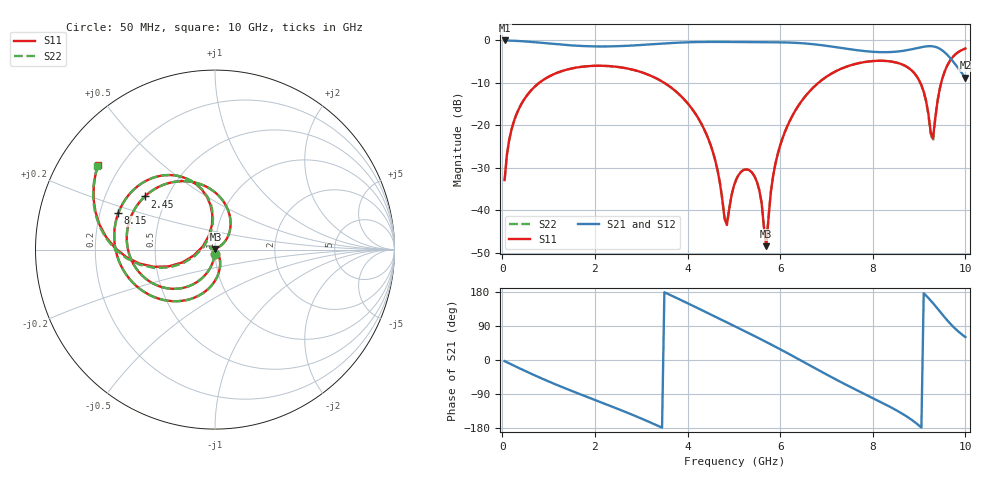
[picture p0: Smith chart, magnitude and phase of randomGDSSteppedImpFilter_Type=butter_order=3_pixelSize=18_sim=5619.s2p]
! freq	dB(S11)	phase(S11)	dB(S12)	phase(S12)
!  dB(S21)	phase(S21)	dB(S22)	phase(S22)
!S-par simulation data
#  GHz  S  DB  R 50
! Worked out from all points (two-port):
!   200 points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, 50 MHz to 10 GHz, reference 50 ohm
!   highest |S21| = -0.01 dB at 50 MHz (marker M1); lowest = -8.8 dB at 10 GHz (marker M2)
!   |S21| within 3 dB of the highest: start of sweep to 9.572 GHz
!   lowest |S11| = -48.5 dB at 5.7 GHz (marker M3), VSWR 1.01, Z = 50.2 + j0.286 ohm
!   |S11| at or under -10 dB: start of sweep to 797.5 MHz; 3.499 GHz to 6.826 GHz (3.327 GHz wide, 64.4 % of centre); 9.027 GHz to 9.478 GHz (451.2 MHz wide, 4.88 % of centre)
!   |S22| runs from -48.0 to -1.9 dB; largest |S21 - S12| = 0
!   S11 on the Smith chart (normalised r, x): 50 MHz: 1.00, -0.05; 2.45 GHz: 0.38, +0.29; 8.15 GHz: 0.28, +0.17; 10 GHz: 0.12, +0.32
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0.05  -32.90 -93.1  -0.01 -3.0  -0.01 -3.0  -32.90 -93.1
0.2  -20.95 -102.4  -0.06 -11.9  -0.06 -11.9  -20.95 -102.4
0.5  -13.45 -119.9  -0.24 -29.3  -0.24 -29.3  -13.45 -119.9
1.75  -6.17 175.9  -1.32 -93.6  -1.32 -93.6  -6.17 175.9
2.45  -6.19 142.9  -1.37 -126.8  -1.37 -126.8  -6.19 142.9
3.4  -9.36 94.7  -0.78 -175.7  -0.78 -175.7  -9.36 94.7
4.35  -20.73 43.3  -0.36 129.1  -0.36 129.1  -20.73 43.4
4.6  -28.34 34.3  -0.34 114.2  -0.34 114.2  -28.33 34.7
4.85  -43.51 119.4  -0.35 99.2  -0.35 99.2  -43.12 118.5
5.05  -32.80 164.2  -0.37 87.2  -0.37 87.2  -32.77 163.2
5.45  -32.10 146.5  -0.39 63.0  -0.39 63.0  -32.08 145.3
5.7  -48.49 49.1  -0.40 47.5  -0.40 47.5  -47.96 46.3
5.8  -35.61 -48.2  -0.41 41.2  -0.41 41.2  -35.60 -45.6
6  -24.75 -63.2  -0.44 28.4  -0.44 28.4  -24.75 -62.4
6.7  -11.26 -109.8  -0.87 -18.1  -0.87 -18.1  -11.26 -109.6
7.35  -6.52 -152.3  -1.83 -60.7  -1.83 -60.7  -6.52 -152.2
8.15  -4.79 159.3  -2.76 -109.6  -2.76 -109.6  -4.80 159.3
8.35  -4.90 147.2  -2.75 -122.1  -2.75 -122.1  -4.91 147.2
9  -9.38 102.2  -1.70 -173.0  -1.70 -173.0  -9.39 101.7
9.3  -23.09 165.2  -1.40 150.1  -1.40 150.1  -23.75 167.0
9.55  -7.38 -169.5  -2.78 113.0  -2.78 113.0  -7.40 -168.5
10  -1.90 144.2  -8.80 60.5  -8.80 60.5  -1.90 144.6
